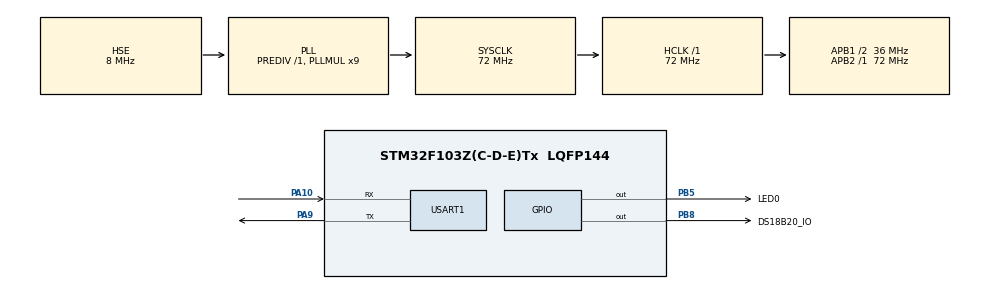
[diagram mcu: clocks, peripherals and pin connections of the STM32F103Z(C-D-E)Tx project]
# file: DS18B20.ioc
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Mcu.Family=STM32F1
Mcu.Name=STM32F103Z(C-D-E)Tx
Mcu.Package=LQFP144
NVIC.PriorityGroup=NVIC_PRIORITYGROUP_4
NVIC.USART1_IRQn=true\:0\:0\:false\:false\:true\:true\:true
OSC_IN.Mode=HSE-External-Oscillator
OSC_IN.Signal=RCC_OSC_IN
OSC_OUT.Mode=HSE-External-Oscillator
OSC_OUT.Signal=RCC_OSC_OUT
PA10.Mode=Asynchronous
PA10.Signal=USART1_RX
PA13.Mode=Serial_Wire
PA13.Signal=SYS_JTMS-SWDIO
PA14.Mode=Serial_Wire
PA14.Signal=SYS_JTCK-SWCLK
PA9.Mode=Asynchronous
PA9.Signal=USART1_TX
PB5.GPIO_Label=LED0
PB5.GPIO_PuPd=GPIO_PULLUP
PB5.PinState=GPIO_PIN_SET
PB5.Signal=GPIO_Output
PB8.GPIO_Label=DS18B20_IO
PB8.GPIO_ModeDefaultOutputPP=GPIO_MODE_OUTPUT_PP
PB8.GPIO_PuPd=GPIO_PULLUP
PB8.PinState=GPIO_PIN_RESET
PB8.Signal=GPIO_Output
ProjectManager.HeapSize=0x200
ProjectManager.StackSize=0x400
ProjectManager.TargetToolchain=Makefile
RCC.AHBFreq_Value=72000000
RCC.APB1CLKDivider=RCC_HCLK_DIV2
RCC.APB1Freq_Value=36000000
RCC.APB1TimFreq_Value=72000000
RCC.APB2Freq_Value=72000000
RCC.APB2TimFreq_Value=72000000
RCC.HCLKFreq_Value=72000000
RCC.PLLMUL=RCC_PLL_MUL9
RCC.PLLSourceVirtual=RCC_PLLSOURCE_HSE
RCC.SYSCLKFreq_VALUE=72000000
RCC.SYSCLKSource=RCC_SYSCLKSOURCE_PLLCLK
RCC.USBFreq_Value=72000000
TIM6.Period=65535
TIM6.Prescaler=72-1
USART1.VirtualMode=VM_ASYNC
VP_TIM6_VS_ClockSourceINT.Mode=Enable_Timer
board=custom

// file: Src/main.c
/* USER CODE BEGIN Header */
/**
  ******************************************************************************
  * @file           : main.c
  * @brief          : Main program body
  ******************************************************************************
  * @attention
  *
  * <h2><center>&copy; Copyright (c) 2020 STMicroelectronics.
  * All rights reserved.</center></h2>
  *
  * This software component is licensed by ST under BSD 3-Clause license,
  * the "License"; You may not use this file except in compliance with the
  * License. You may obtain a copy of the License at:
  *                        opensource.org/licenses/BSD-3-Clause
  *
  ******************************************************************************
  */
/* USER CODE END Header */

#include "main.h"
#include "tim.h"
#include "usart.h"
#include "gpio.h"

/* USER CODE BEGIN Includes */
#include "DS18B20.h"
/* USER CODE END Includes */

void SystemClock_Config(void);

/* USER CODE BEGIN 0 */
uint16_t count = 0;
/* USER CODE END 0 */

int main(void)
{

  /* MCU Configuration--------------------------------------------------------*/

  /* Reset of all peripherals, Initializes the Flash interface and the Systick. */
  HAL_Init();

  /* Configure the system clock */
  SystemClock_Config();

  /* Initialize all configured peripherals */
  MX_GPIO_Init();
  MX_TIM6_Init();
  MX_USART1_UART_Init();
  /* USER CODE BEGIN 2 */
  if (DS18B20_Init() == 0)
  {
    printf("DS18B20 is OK!\r\n");
  }
  else if (DS18B20_Init() == 1)
  {
    printf("DS18B20 can't be found");
  }
  HAL_Delay(1000);
  /* USER CODE END 2 */

  /* Infinite loop */
  while (1)
  {

    /* USER CODE BEGIN 3 */
    DS18B20_GetTemperature(); //获取温度
    printf("------Get Temperature------\r\n");
    printf("%d-Temp:%d\r\n", count++, DS18B20_TempDataStruct.TempDataAll);
    printf("Hun:%d\r\n", DS18B20_TempDataStruct.Hun);
    printf("Tens:%d\r\n", DS18B20_TempDataStruct.Tens);
    printf("Unit:%d\r\n", DS18B20_TempDataStruct.Unit);
    printf("Decimals1:%d\r\n", DS18B20_TempDataStruct.Decimals1);
    printf("Decimals2:%d\r\n", DS18B20_TempDataStruct.Decimals2);
    printf("---All the temperature data!---\r\n");
    HAL_Delay(1000);
  }
  /* USER CODE END 3 */
}

void SystemClock_Config(void)
{
  RCC_OscInitTypeDef RCC_OscInitStruct = {0};
  RCC_ClkInitTypeDef RCC_ClkInitStruct = {0};

  /** Initializes the CPU, AHB and APB busses clocks
  */
  RCC_OscInitStruct.OscillatorType = RCC_OSCILLATORTYPE_HSE;
  RCC_OscInitStruct.HSEState = RCC_HSE_ON;
  RCC_OscInitStruct.HSEPredivValue = RCC_HSE_PREDIV_DIV1;
  RCC_OscInitStruct.HSIState = RCC_HSI_ON;
  RCC_OscInitStruct.PLL.PLLState = RCC_PLL_ON;
  RCC_OscInitStruct.PLL.PLLSource = RCC_PLLSOURCE_HSE;
  RCC_OscInitStruct.PLL.PLLMUL = RCC_PLL_MUL9;
  if (HAL_RCC_OscConfig(&RCC_OscInitStruct) != HAL_OK)
  {
    Error_Handler();
  }
  /** Initializes the CPU, AHB and APB busses clocks
  */
  RCC_ClkInitStruct.ClockType = RCC_CLOCKTYPE_HCLK | RCC_CLOCKTYPE_SYSCLK | RCC_CLOCKTYPE_PCLK1 | RCC_CLOCKTYPE_PCLK2;
  RCC_ClkInitStruct.SYSCLKSource = RCC_SYSCLKSOURCE_PLLCLK;
  RCC_ClkInitStruct.AHBCLKDivider = RCC_SYSCLK_DIV1;
  RCC_ClkInitStruct.APB1CLKDivider = RCC_HCLK_DIV2;
  RCC_ClkInitStruct.APB2CLKDivider = RCC_HCLK_DIV1;

  if (HAL_RCC_ClockConfig(&RCC_ClkInitStruct, FLASH_LATENCY_2) != HAL_OK)
  {
    Error_Handler();
  }
}

void Error_Handler(void)
{
}

/************************ (C) COPYRIGHT STMicroelectronics *****END OF FILE****/
